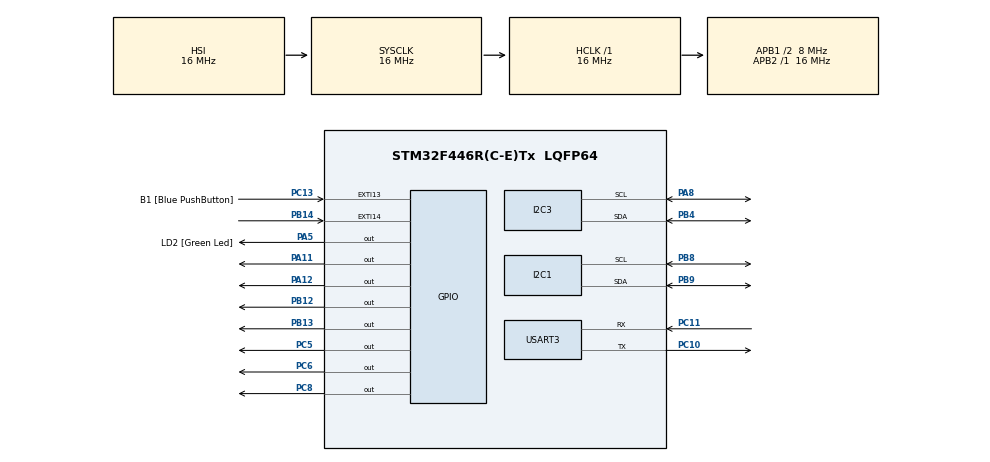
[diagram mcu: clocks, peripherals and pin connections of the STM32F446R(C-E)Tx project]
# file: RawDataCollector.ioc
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Mcu.Family=STM32F4
Mcu.Name=STM32F446R(C-E)Tx
Mcu.Package=LQFP64
NVIC.EXTI15_10_IRQn=true\:0\:0\:false\:false\:true\:true\:true
NVIC.PriorityGroup=NVIC_PRIORITYGROUP_0
PA11.PinState=GPIO_PIN_RESET
PA11.Signal=GPIO_Output
PA12.PinState=GPIO_PIN_RESET
PA12.Signal=GPIO_Output
PA13.GPIO_Label=TMS
PA13.Mode=Serial_Wire
PA13.Signal=SYS_JTMS-SWDIO
PA14.GPIO_Label=TCK
PA14.Mode=Serial_Wire
PA14.Signal=SYS_JTCK-SWCLK
PA2.GPIO_Label=USART_TX
PA2.Signal=USART2_TX
PA3.GPIO_Label=USART_RX
PA3.Signal=USART2_RX
PA5.GPIO_Label=LD2 [Green Led]
PA5.Signal=GPIO_Output
PA8.Mode=I2C
PA8.Signal=I2C3_SCL
PB12.PinState=GPIO_PIN_RESET
PB12.Signal=GPIO_Output
PB13.PinState=GPIO_PIN_RESET
PB13.Signal=GPIO_Output
PB14.Signal=GPXTI14
PB3.GPIO_Label=SWO
PB3.Signal=SYS_JTDO-SWO
PB4.Mode=I2C
PB4.Signal=I2C3_SDA
PB8.Mode=I2C
PB8.Signal=I2C1_SCL
PB9.Mode=I2C
PB9.Signal=I2C1_SDA
PC10.Mode=Asynchronous
PC10.Signal=USART3_TX
PC11.Mode=Asynchronous
PC11.Signal=USART3_RX
PC13.GPIO_Label=B1 [Blue PushButton]
PC13.GPIO_ModeDefaultEXTI=GPIO_MODE_IT_FALLING
PC13.Signal=GPXTI13
PC14-OSC32_IN.Mode=LSE-External-Oscillator
PC14-OSC32_IN.Signal=RCC_OSC32_IN
PC15-OSC32_OUT.Mode=LSE-External-Oscillator
PC15-OSC32_OUT.Signal=RCC_OSC32_OUT
PC5.PinState=GPIO_PIN_RESET
PC5.Signal=GPIO_Output
PC6.PinState=GPIO_PIN_RESET
PC6.Signal=GPIO_Output
PC8.PinState=GPIO_PIN_RESET
PC8.Signal=GPIO_Output
PH0-OSC_IN.Mode=HSE-External-Oscillator
PH0-OSC_IN.Signal=RCC_OSC_IN
PH1-OSC_OUT.Mode=HSE-External-Oscillator
PH1-OSC_OUT.Signal=RCC_OSC_OUT
ProjectManager.HeapSize=0x200
ProjectManager.StackSize=0x400
ProjectManager.TargetToolchain=STM32CubeIDE
RCC.48MHZClocksFreq_Value=84000000
RCC.AHBFreq_Value=16000000
RCC.APB1CLKDivider=RCC_HCLK_DIV2
RCC.APB1Freq_Value=8000000
RCC.APB1TimFreq_Value=16000000
RCC.APB2Freq_Value=16000000
RCC.APB2TimFreq_Value=16000000
RCC.CortexFreq_Value=16000000
RCC.FLatency-AdvancedSettings=FLASH_LATENCY_0
RCC.HCLKFreq_Value=16000000
RCC.HSE_VALUE=8000000
RCC.HSI_VALUE=16000000
RCC.PLLN=336
RCC.PLLP=RCC_PLLP_DIV4
RCC.SYSCLKFreq_VALUE=16000000
RCC.USBFreq_Value=168000000
RCC.VCOOutputFreq_Value=336000000
USART3.VirtualMode=VM_ASYNC
board=NUCLEO-F446RE

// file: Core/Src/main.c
/* USER CODE BEGIN Header */
/**
  ******************************************************************************
  * @file           : main.c
  * @brief          : Main program body
  ******************************************************************************
  * @attention
  *
  * <h2><center>&copy; Copyright (c) 2021 STMicroelectronics.
  * All rights reserved.</center></h2>
  *
  * This software component is licensed by ST under BSD 3-Clause license,
  * the "License"; You may not use this file except in compliance with the
  * License. You may obtain a copy of the License at:
  *                        opensource.org/licenses/BSD-3-Clause
  *
  ******************************************************************************
  */
/* USER CODE END Header */
#include "main.h"

/* USER CODE BEGIN Includes */
#include "HTU21.h"
#include "BH1750.h"
#include "BMP280.h"
#include "LED.h"
#include "EEPROM.h"

#include <stdio.h>
#include <string.h>
#include "stdlib.h"
/* USER CODE END Includes */

I2C_HandleTypeDef hi2c1;
I2C_HandleTypeDef hi2c3;

UART_HandleTypeDef huart3;

void SystemClock_Config(void);
static void MX_GPIO_Init(void);
static void MX_I2C1_Init(void);
static void MX_I2C3_Init(void);
static void MX_USART3_UART_Init(void);

/* USER CODE BEGIN 0 */
bool checkData(DeviceData *deviceData, DeviceData *deviceDataCached);
void displayOnLCD(DeviceData *deviceData);
/* USER CODE END 0 */

int main(void)
{
  /* USER CODE BEGIN 1 */
	BMP280_HandleTypedef bmp280;

	uint16_t size;
	uint8_t Data[256];
	DeviceData deviceData;
	DeviceData deviceDataCached;
	memset(&deviceData, 0, sizeof (deviceData));
	memset(&deviceDataCached, 0, sizeof (deviceDataCached));

	//// EEPROM block

//#define DEV_ADDR 0xa0
//uint8_t dataw1[] = "hello world from EEPROM";
//uint8_t dataw2[] = "This is the second string from EEPROM";
//float dataw3 = 1234.5678;
//
//uint8_t datar1[100];
//uint8_t datar2[100];
//float datar3;
  /* USER CODE END 1 */

  /* MCU Configuration--------------------------------------------------------*/

  /* Reset of all peripherals, Initializes the Flash interface and the Systick. */
  HAL_Init();

  /* Configure the system clock */
  SystemClock_Config();

  /* Initialize all configured peripherals */
  MX_GPIO_Init();
  MX_I2C1_Init();
  MX_I2C3_Init();
  MX_USART3_UART_Init();
  /* USER CODE BEGIN 2 */

  HAL_Delay(100);
//  for (int i=0; i<512; i++)
//  {
//	  EEPROM_PageErase(i);
//  }
//  EEPROM_Write(3, 0, dataw1, strlen((char *)dataw1));
//
//  EEPROM_Write(5, 20, dataw2, strlen((char *)dataw2));
//
//  EEPROM_Write_NUM (6, 0, dataw3);
//
//  EEPROM_Read(3, 0, datar1, 50);
//
//  EEPROM_Read(5, 15, datar2, 50);
//
//  datar3 = EEPROM_Read_NUM (6, 0);

  LCD_Init();

  /* USER CODE END 2 */

  /* Infinite loop */
  /* USER CODE BEGIN WHILE */
  BH1750_device_t* lumen = BH1750_init_dev_struct(&hi2c3, "test device", true);
  BH1750_init_dev(lumen);

  bmp280_init_default_params(&bmp280.params);
  bmp280.addr = BMP280_I2C_ADDRESS_0;
  bmp280.i2c = &hi2c3;

  while (!bmp280_init(&bmp280, &bmp280.params))
  {
  	size = sprintf((char *)Data, "BMP280 initialization failed\n");
	HAL_Delay(100);
  }
  HAL_Delay(100);
//  HAL_UART_Receive_IT(&huart3, str, 1);
  while (1)
  {
    /* USER CODE END WHILE */

    /* USER CODE BEGIN 3 */

		lumen->poll(lumen, &deviceData);
		HAL_Delay(100);

		readTempAndHumidity(&hi2c1, &deviceData);
		HAL_Delay(100);

		bmp280_read_float(&bmp280, &deviceData);

		HAL_Delay(100);
		if (measureData && deviceData.BH1750_Lumens != 0)
		{
			if (checkData(&deviceData, &deviceDataCached))
			{
				size = sprintf((char *)Data,"Lumen: %d lm; Temperature: %.d C; Humidity: %d %%; Pressure: %.d hPA\r\n",
						(int)deviceData.BH1750_Lumens,
						(int)deviceData.HTU21D_Temperature,
						(int)deviceData.HTU21D_Humidity,
						(int)deviceData.BMP280_Pressure);

				deviceDataCached.BH1750_Lumens = deviceData.BH1750_Lumens;
				deviceDataCached.BMP280_Pressure = deviceData.BMP280_Pressure;
				deviceDataCached.HTU21D_Humidity = deviceData.HTU21D_Humidity;
				deviceDataCached.HTU21D_Temperature = deviceData.HTU21D_Temperature;

				displayOnLCD(&deviceData);
				size = sprintf((char *)Data,"%d;%d;%d;%d",
										(int)deviceData.BH1750_Lumens,
										(int)deviceData.HTU21D_Temperature,
										(int)deviceData.HTU21D_Humidity,
										(int)deviceData.BMP280_Pressure);
				HAL_UART_Transmit(&huart3, Data, size, 5000);
			}

		}
		memset(Data, 0, sizeof(Data));
		HAL_Delay(5000);
  }
  /* USER CODE END 3 */
}

void SystemClock_Config(void)
{
  RCC_OscInitTypeDef RCC_OscInitStruct = {0};
  RCC_ClkInitTypeDef RCC_ClkInitStruct = {0};

  /** Configure the main internal regulator output voltage
  */
  __HAL_RCC_PWR_CLK_ENABLE();
  __HAL_PWR_VOLTAGESCALING_CONFIG(PWR_REGULATOR_VOLTAGE_SCALE3);
  /** Initializes the RCC Oscillators according to the specified parameters
  * in the RCC_OscInitTypeDef structure.
  */
  RCC_OscInitStruct.OscillatorType = RCC_OSCILLATORTYPE_HSI;
  RCC_OscInitStruct.HSIState = RCC_HSI_ON;
  RCC_OscInitStruct.HSICalibrationValue = RCC_HSICALIBRATION_DEFAULT;
  RCC_OscInitStruct.PLL.PLLState = RCC_PLL_NONE;
  if (HAL_RCC_OscConfig(&RCC_OscInitStruct) != HAL_OK)
  {
    Error_Handler();
  }
  /** Initializes the CPU, AHB and APB buses clocks
  */
  RCC_ClkInitStruct.ClockType = RCC_CLOCKTYPE_HCLK|RCC_CLOCKTYPE_SYSCLK
                              |RCC_CLOCKTYPE_PCLK1|RCC_CLOCKTYPE_PCLK2;
  RCC_ClkInitStruct.SYSCLKSource = RCC_SYSCLKSOURCE_HSI;
  RCC_ClkInitStruct.AHBCLKDivider = RCC_SYSCLK_DIV1;
  RCC_ClkInitStruct.APB1CLKDivider = RCC_HCLK_DIV2;
  RCC_ClkInitStruct.APB2CLKDivider = RCC_HCLK_DIV1;

  if (HAL_RCC_ClockConfig(&RCC_ClkInitStruct, FLASH_LATENCY_0) != HAL_OK)
  {
    Error_Handler();
  }
}

static void MX_I2C1_Init(void)
{

  hi2c1.Instance = I2C1;
  hi2c1.Init.ClockSpeed = 100000;
  hi2c1.Init.DutyCycle = I2C_DUTYCYCLE_2;
  hi2c1.Init.OwnAddress1 = 0;
  hi2c1.Init.AddressingMode = I2C_ADDRESSINGMODE_7BIT;
  hi2c1.Init.DualAddressMode = I2C_DUALADDRESS_DISABLE;
  hi2c1.Init.OwnAddress2 = 0;
  hi2c1.Init.GeneralCallMode = I2C_GENERALCALL_DISABLE;
  hi2c1.Init.NoStretchMode = I2C_NOSTRETCH_DISABLE;
  if (HAL_I2C_Init(&hi2c1) != HAL_OK)
  {
    Error_Handler();
  }

}

static void MX_I2C3_Init(void)
{

  hi2c3.Instance = I2C3;
  hi2c3.Init.ClockSpeed = 100000;
  hi2c3.Init.DutyCycle = I2C_DUTYCYCLE_2;
  hi2c3.Init.OwnAddress1 = 0;
  hi2c3.Init.AddressingMode = I2C_ADDRESSINGMODE_7BIT;
  hi2c3.Init.DualAddressMode = I2C_DUALADDRESS_DISABLE;
  hi2c3.Init.OwnAddress2 = 0;
  hi2c3.Init.GeneralCallMode = I2C_GENERALCALL_DISABLE;
  hi2c3.Init.NoStretchMode = I2C_NOSTRETCH_DISABLE;
  if (HAL_I2C_Init(&hi2c3) != HAL_OK)
  {
    Error_Handler();
  }

}

static void MX_USART3_UART_Init(void)
{

  huart3.Instance = USART3;
  huart3.Init.BaudRate = 115200;
  huart3.Init.WordLength = UART_WORDLENGTH_8B;
  huart3.Init.StopBits = UART_STOPBITS_1;
  huart3.Init.Parity = UART_PARITY_NONE;
  huart3.Init.Mode = UART_MODE_TX_RX;
  huart3.Init.HwFlowCtl = UART_HWCONTROL_NONE;
  huart3.Init.OverSampling = UART_OVERSAMPLING_16;
  if (HAL_UART_Init(&huart3) != HAL_OK)
  {
    Error_Handler();
  }

}

static void MX_GPIO_Init(void)
{
  GPIO_InitTypeDef GPIO_InitStruct = {0};

  /* GPIO Ports Clock Enable */
  __HAL_RCC_GPIOC_CLK_ENABLE();
  __HAL_RCC_GPIOH_CLK_ENABLE();
  __HAL_RCC_GPIOA_CLK_ENABLE();
  __HAL_RCC_GPIOB_CLK_ENABLE();

  /*Configure GPIO pin Output Level */
  HAL_GPIO_WritePin(GPIOA, LD2_Pin|GPIO_PIN_11|GPIO_PIN_12, GPIO_PIN_RESET);

  /*Configure GPIO pin Output Level */
  HAL_GPIO_WritePin(GPIOC, GPIO_PIN_5|GPIO_PIN_6|GPIO_PIN_8, GPIO_PIN_RESET);

  /*Configure GPIO pin Output Level */
  HAL_GPIO_WritePin(GPIOB, GPIO_PIN_12|GPIO_PIN_13, GPIO_PIN_RESET);

  /*Configure GPIO pin : B1_Pin */
  GPIO_InitStruct.Pin = B1_Pin;
  GPIO_InitStruct.Mode = GPIO_MODE_IT_FALLING;
  GPIO_InitStruct.Pull = GPIO_NOPULL;
  HAL_GPIO_Init(B1_GPIO_Port, &GPIO_InitStruct);

  /*Configure GPIO pins : USART_TX_Pin USART_RX_Pin */
  GPIO_InitStruct.Pin = USART_TX_Pin|USART_RX_Pin;
  GPIO_InitStruct.Mode = GPIO_MODE_AF_PP;
  GPIO_InitStruct.Pull = GPIO_NOPULL;
  GPIO_InitStruct.Speed = GPIO_SPEED_FREQ_VERY_HIGH;
  GPIO_InitStruct.Alternate = GPIO_AF7_USART2;
  HAL_GPIO_Init(GPIOA, &GPIO_InitStruct);

  /*Configure GPIO pins : LD2_Pin PA11 PA12 */
  GPIO_InitStruct.Pin = LD2_Pin|GPIO_PIN_11|GPIO_PIN_12;
  GPIO_InitStruct.Mode = GPIO_MODE_OUTPUT_PP;
  GPIO_InitStruct.Pull = GPIO_NOPULL;
  GPIO_InitStruct.Speed = GPIO_SPEED_FREQ_LOW;
  HAL_GPIO_Init(GPIOA, &GPIO_InitStruct);

  /*Configure GPIO pins : PC5 PC6 PC8 */
  GPIO_InitStruct.Pin = GPIO_PIN_5|GPIO_PIN_6|GPIO_PIN_8;
  GPIO_InitStruct.Mode = GPIO_MODE_OUTPUT_PP;
  GPIO_InitStruct.Pull = GPIO_NOPULL;
  GPIO_InitStruct.Speed = GPIO_SPEED_FREQ_LOW;
  HAL_GPIO_Init(GPIOC, &GPIO_InitStruct);

  /*Configure GPIO pins : PB12 PB13 */
  GPIO_InitStruct.Pin = GPIO_PIN_12|GPIO_PIN_13;
  GPIO_InitStruct.Mode = GPIO_MODE_OUTPUT_PP;
  GPIO_InitStruct.Pull = GPIO_NOPULL;
  GPIO_InitStruct.Speed = GPIO_SPEED_FREQ_LOW;
  HAL_GPIO_Init(GPIOB, &GPIO_InitStruct);

  /*Configure GPIO pin : PB14 */
  GPIO_InitStruct.Pin = GPIO_PIN_14;
  GPIO_InitStruct.Mode = GPIO_MODE_IT_RISING;
  GPIO_InitStruct.Pull = GPIO_NOPULL;
  HAL_GPIO_Init(GPIOB, &GPIO_InitStruct);

  /* EXTI interrupt init*/
  HAL_NVIC_SetPriority(EXTI15_10_IRQn, 0, 0);
  HAL_NVIC_EnableIRQ(EXTI15_10_IRQn);

}

/* USER CODE BEGIN 4 */
bool checkData(DeviceData *deviceData, DeviceData *deviceDataCached)
{
	if (deviceData->BH1750_Lumens != deviceDataCached->BH1750_Lumens)
		return true;
	else if (deviceData->BMP280_Pressure != deviceDataCached->BMP280_Pressure)
		return true;
	else if (deviceData->HTU21D_Humidity != deviceDataCached->HTU21D_Humidity)
		return true;
	else if (deviceData->HTU21D_Temperature != deviceDataCached->HTU21D_Temperature)
		return true;

	return false;
}

void displayOnLCD(DeviceData *deviceData)
{
	// L: lm
	// T: C
	// H: %
	// P: hPa
	char LCD_Data_Lumen[3] = "";
	char LCD_Data_Lumen_2[8]="";

	char LCD_Data_Temperature[2] = "";
	char LCD_Data_Temperature_2[8]="";

	char LCD_Data_Humidity[2] = "";
	char LCD_Data_Humidity_2[8]="";

	char LCD_Data_Pressure[5] = "";
	char LCD_Data_Pressure_2[10]="";

	itoa(deviceData->BH1750_Lumens, LCD_Data_Lumen, 10);
	sprintf(LCD_Data_Lumen_2, "L:%s", LCD_Data_Lumen);

	itoa((int)deviceData->HTU21D_Temperature,LCD_Data_Temperature, 10);
	sprintf(LCD_Data_Temperature_2, "T:%sC", LCD_Data_Temperature);

	itoa((int)deviceData->HTU21D_Humidity,LCD_Data_Humidity, 10);
	sprintf(LCD_Data_Humidity_2, "H:%s%%", LCD_Data_Humidity);

	itoa((int)deviceData->BMP280_Pressure,LCD_Data_Pressure, 10);
	sprintf(LCD_Data_Pressure_2, "P:%shPa", LCD_Data_Pressure);

	LCD_Clear();

	LCD_Set_Cursor(1,1);
	LCD_Write_String(LCD_Data_Lumen_2);

	LCD_Set_Cursor(1,8);
	LCD_Write_String(LCD_Data_Temperature_2);

	LCD_Set_Cursor(2,1);
	LCD_Write_String(LCD_Data_Humidity_2);

	LCD_Set_Cursor(2,8);
	LCD_Write_String(LCD_Data_Pressure_2);
}
/* USER CODE END 4 */

void Error_Handler(void)
{
  __disable_irq();
  while (1)
  {
  }
}

/************************ (C) COPYRIGHT STMicroelectronics *****END OF FILE****/
